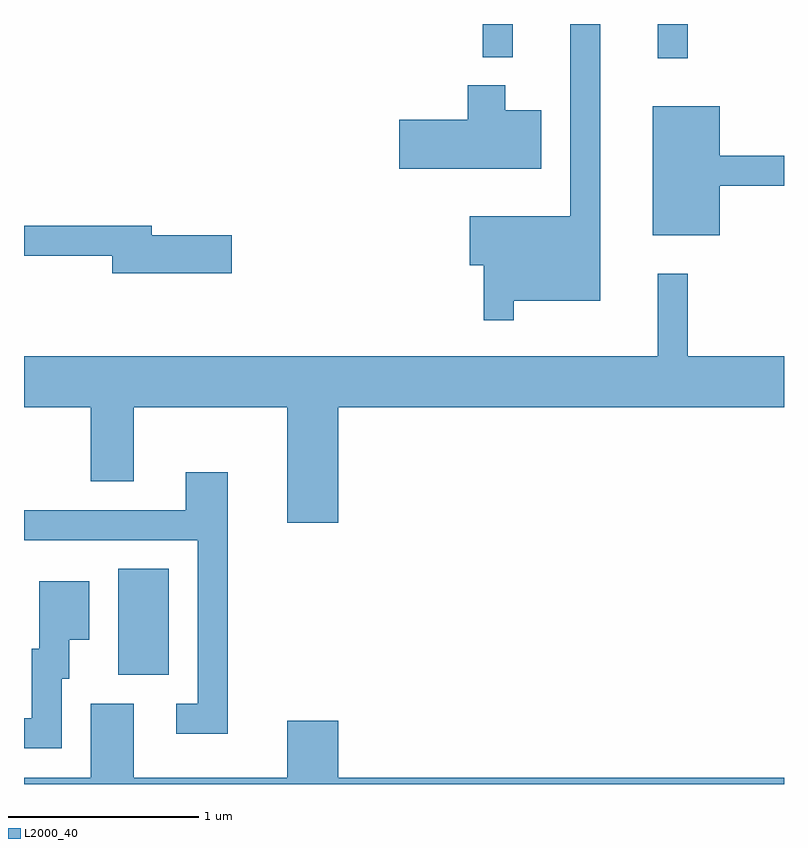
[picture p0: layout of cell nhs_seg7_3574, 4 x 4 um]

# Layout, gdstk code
import gdstk
lib = gdstk.Library(unit=1e-6, precision=1e-09)
def R(c, l, rs):  # rectangles x0, y0, x1, y1
    for r in rs: c.add(gdstk.rectangle(r[:2], r[2:], *l))
def P(c, l, *ps):  # polygons
    for p in ps: c.add(gdstk.Polygon(p, *l))
L2000_40 = (2000, 40)

nhs_seg7_3574 = lib.new_cell('nhs_seg7_3574')
R(nhs_seg7_3574, L2000_40, [(294.106,1792.826,294.374,1793.384), (296.946,1796.073,297.104,1796.252), (296.026,1796.078,296.184,1796.252)])
P(nhs_seg7_3574, L2000_40, [(296.189,1794.796),(296.644,1794.796),(296.644,1796.252),(296.486,1796.252),(296.486,1795.239),(295.956,1795.239),(295.956,1794.981),(296.031,1794.981),(296.031,1794.693),(296.189,1794.693)],
  [(296.334,1795.799),(296.144,1795.799),(296.144,1795.929),(295.946,1795.929),(295.946,1795.749),(295.586,1795.749),(295.586,1795.491),(296.334,1795.491)],
  [(297.274,1795.401),(297.611,1795.401),(297.611,1795.559),(297.274,1795.559),(297.274,1795.819),(296.921,1795.819),(296.921,1795.141),(297.274,1795.141)],
  [(294.704,1795.139),(294.284,1795.139),(294.284,1795.189),(293.611,1795.189),(293.611,1795.031),(294.076,1795.031),(294.076,1794.941),(294.704,1794.941)],
  [(295.264,1794.236),(297.611,1794.236),(297.611,1794.504),(297.104,1794.504),(297.104,1794.938),(296.946,1794.938),(296.946,1794.504),(293.611,1794.504),(293.611,1794.236),(293.961,1794.236),(293.961,1793.846),(294.189,1793.846),(294.189,1794.236),(294.996,1794.236),(294.996,1793.626),(295.264,1793.626)],
  [(294.684,1793.894),(294.461,1793.894),(294.461,1793.694),(293.611,1793.694),(293.611,1793.536),(294.526,1793.536),(294.526,1792.674),(294.413,1792.674),(294.413,1792.516),(294.684,1792.516)],
  [(293.809,1792.806),(293.849,1792.806),(293.849,1793.011),(293.954,1793.011),(293.954,1793.319),(293.691,1793.319),(293.691,1792.964),(293.651,1792.964),(293.651,1792.599),(293.611,1792.599),(293.611,1792.441),(293.809,1792.441)],
  [(294.189,1792.674),(293.961,1792.674),(293.961,1792.284),(293.611,1792.284),(293.611,1792.252),(297.611,1792.252),(297.611,1792.284),(295.264,1792.284),(295.264,1792.584),(294.996,1792.584),(294.996,1792.284),(294.189,1792.284)])

lib.write_gds('nhs_seg7_3574.gds')
